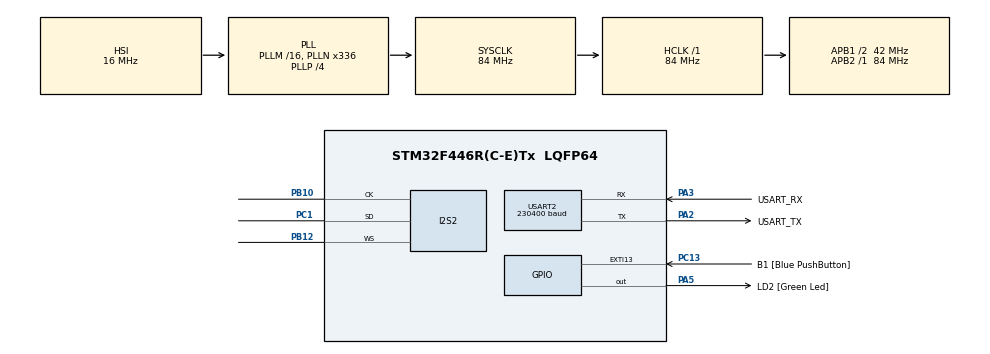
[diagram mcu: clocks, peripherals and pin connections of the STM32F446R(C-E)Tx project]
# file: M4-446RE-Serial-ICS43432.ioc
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Dma.Request0=SPI2_RX
Dma.SPI2_RX.0.Channel=DMA_CHANNEL_0
Dma.SPI2_RX.0.Direction=DMA_PERIPH_TO_MEMORY
Dma.SPI2_RX.0.FIFOMode=DMA_FIFOMODE_DISABLE
Dma.SPI2_RX.0.Instance=DMA1_Stream3
Dma.SPI2_RX.0.MemDataAlignment=DMA_MDATAALIGN_HALFWORD
Dma.SPI2_RX.0.MemInc=DMA_MINC_ENABLE
Dma.SPI2_RX.0.Mode=DMA_NORMAL
Dma.SPI2_RX.0.PeriphDataAlignment=DMA_PDATAALIGN_HALFWORD
Dma.SPI2_RX.0.PeriphInc=DMA_PINC_DISABLE
Dma.SPI2_RX.0.Priority=DMA_PRIORITY_LOW
I2S2.AudioFreq=I2S_AUDIOFREQ_32K
I2S2.DataFormat=I2S_DATAFORMAT_24B
I2S2.ErrorAudioFreq=-2.34 %
I2S2.Mode=I2S_MODE_MASTER_RX
I2S2.RealAudioFreq=31.25 KHz
I2S2.Standard=I2S_STANDARD_MSB
Mcu.Family=STM32F4
Mcu.Name=STM32F446R(C-E)Tx
Mcu.Package=LQFP64
NVIC.DMA1_Stream3_IRQn=true\:0\:0\:false
NVIC.PriorityGroup=NVIC_PRIORITYGROUP_0
PA13.GPIO_Label=TMS
PA13.Signal=SYS_JTMS-SWDIO
PA14.GPIO_Label=TCK
PA14.Signal=SYS_JTCK-SWCLK
PA2.GPIO_Label=USART_TX
PA2.Mode=Asynchronous
PA2.Signal=USART2_TX
PA3.GPIO_Label=USART_RX
PA3.Mode=Asynchronous
PA3.Signal=USART2_RX
PA5.GPIO_Label=LD2 [Green Led]
PA5.Signal=GPIO_Output
PB10.Mode=Half_Duplex_Master
PB10.Signal=I2S2_CK
PB12.Mode=Half_Duplex_Master
PB12.Signal=I2S2_WS
PB3.GPIO_Label=SWO
PB3.Signal=SYS_JTDO-SWO
PC1.Mode=Half_Duplex_Master
PC1.Signal=I2S2_SD
PC13.GPIO_Label=B1 [Blue PushButton]
PC13.GPIO_ModeDefaultEXTI=GPIO_MODE_EVT_RISING
PC13.Signal=GPXTI13
PC14-OSC32_IN.Signal=RCC_OSC32_IN
PC15-OSC32_OUT.Signal=RCC_OSC32_OUT
PH0-OSC_IN.Signal=RCC_OSC_IN
PH1-OSC_OUT.Signal=RCC_OSC_OUT
ProjectManager.HeapSize=0x400
ProjectManager.StackSize=0x200
ProjectManager.TargetToolchain=SW4STM32
RCC.AHBFreq_Value=84000000
RCC.APB1CLKDivider=RCC_HCLK_DIV2
RCC.APB1Freq_Value=42000000
RCC.APB1TimFreq_Value=84000000
RCC.APB2Freq_Value=84000000
RCC.APB2TimFreq_Value=84000000
RCC.CortexFreq_Value=84000000
RCC.FLatency-AdvancedSettings=FLASH_LATENCY_2
RCC.HCLKFreq_Value=84000000
RCC.HSE_VALUE=8000000
RCC.HSI_VALUE=16000000
RCC.LSE_VALUE=32768
RCC.PLLN=336
RCC.PLLP=RCC_PLLP_DIV4
RCC.SYSCLKFreq_VALUE=84000000
RCC.SYSCLKSource=RCC_SYSCLKSOURCE_PLLCLK
RCC.USBFreq_Value=168000000
RCC.VCOOutputFreq_Value=336000000
USART2.BaudRate=230400
board=NUCLEO-F446RE

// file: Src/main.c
/**
  ******************************************************************************
  * File Name          : main.c
  * Description        : Main program body
  ******************************************************************************
  *
  * COPYRIGHT(c) 2016 STMicroelectronics and Gilbert Brault
  *
  * Redistribution and use in source and binary forms, with or without modification,
  * are permitted provided that the following conditions are met:
  *   1. Redistributions of source code must retain the above copyright notice,
  *      this list of conditions and the following disclaimer.
  *   2. Redistributions in binary form must reproduce the above copyright notice,
  *      this list of conditions and the following disclaimer in the documentation
  *      and/or other materials provided with the distribution.
  *   3. Neither the name of STMicroelectronics nor the names of its contributors
  *      may be used to endorse or promote products derived from this software
  *      without specific prior written permission.
  *
  * THIS SOFTWARE IS PROVIDED BY THE COPYRIGHT HOLDERS AND CONTRIBUTORS "AS IS"
  * AND ANY EXPRESS OR IMPLIED WARRANTIES, INCLUDING, BUT NOT LIMITED TO, THE
  * IMPLIED WARRANTIES OF MERCHANTABILITY AND FITNESS FOR A PARTICULAR PURPOSE ARE
  * DISCLAIMED. IN NO EVENT SHALL THE COPYRIGHT HOLDER OR CONTRIBUTORS BE LIABLE
  * FOR ANY DIRECT, INDIRECT, INCIDENTAL, SPECIAL, EXEMPLARY, OR CONSEQUENTIAL
  * DAMAGES (INCLUDING, BUT NOT LIMITED TO, PROCUREMENT OF SUBSTITUTE GOODS OR
  * SERVICES; LOSS OF USE, DATA, OR PROFITS; OR BUSINESS INTERRUPTION) HOWEVER
  * CAUSED AND ON ANY THEORY OF LIABILITY, WHETHER IN CONTRACT, STRICT LIABILITY,
  * OR TORT (INCLUDING NEGLIGENCE OR OTHERWISE) ARISING IN ANY WAY OUT OF THE USE
  * OF THIS SOFTWARE, EVEN IF ADVISED OF THE POSSIBILITY OF SUCH DAMAGE.
  *
  ******************************************************************************
  */
#include "stm32f4xx_hal.h"

/* USER CODE BEGIN Includes */
#include <string.h>

/* USER CODE END Includes */

I2S_HandleTypeDef hi2s2;
DMA_HandleTypeDef hdma_spi2_rx;

UART_HandleTypeDef huart2;

/* USER CODE BEGIN PV */
/* Private variables ---------------------------------------------------------*/
uint16_t Data1[1000] = { 0 };
uint16_t Data2[1000] = { 0 };
int32_t Audio[250] = { 0 };
uint16_t Size = 1000;
uint8_t Ready = 0;
uint16_t *produce_ptr, *consume_ptr;
uint8_t which;
uint8_t state;

/* USER CODE END PV */

void SystemClock_Config(void);
static void MX_GPIO_Init(void);
static void MX_DMA_Init(void);
static void MX_I2S2_Init(void);
static void MX_USART2_UART_Init(void);

/* USER CODE BEGIN PFP */
/* Private function prototypes -----------------------------------------------*/
void ProcessAudio();

/* USER CODE END PFP */

int main(void)
{

  /* USER CODE BEGIN 1 */
	uint8_t binary = 1;
  /* USER CODE END 1 */

  /* MCU Configuration----------------------------------------------------------*/

  /* Reset of all peripherals, Initializes the Flash interface and the Systick. */
  HAL_Init();

  /* Configure the system clock */
  SystemClock_Config();

  /* Initialize all configured peripherals */
  MX_GPIO_Init();
  MX_DMA_Init();
  MX_I2S2_Init();
  MX_USART2_UART_Init();

  /* Infinite loop */
  /* USER CODE BEGIN WHILE */
	char *msg = "Hello Nucleo I2S Test!\n\r";

	HAL_UART_Transmit(&huart2, (uint8_t*) msg, strlen(msg), 0xFFFF);

	produce_ptr = Data1;
	which = 1;
	state = 0;
	consume_ptr = Data2;
	HAL_I2S_Receive_DMA(&hi2s2, produce_ptr, Size / 2);

	while (1) {
  /* USER CODE END WHILE */

  /* USER CODE BEGIN 3 */
		// check if a command is pending (from USART)
		// command code
		// 0 Stop sending
		// 1 Start sending
		uint8_t command[1];
		HAL_StatusTypeDef res;
		res = HAL_UART_Receive(&huart2, command, 1, 0x0000);
		if(res!= (HAL_StatusTypeDef)HAL_TIMEOUT){
			// decoding command
			state = command[0];
		}

		// toggle LED 2 to show activity
		HAL_GPIO_TogglePin(GPIOA, GPIO_PIN_5);

		// depending on state (from USART) and Ready (from DMA)
		// transmit microphone Data in ASCII or Binary
		if ((state==1) && (Ready == 1)) {
			int i;
			char buf[4];
			ProcessAudio();
			if (binary == 0) {
				for (i = 0; i < ((Size / 4) - 1); i++) {
					sprintf(buf, "$%ld;", Audio[i]);
					HAL_UART_Transmit(&huart2, (uint8_t*) buf, strlen(buf),
							0xFFFF);
				}
			} else {
				HAL_UART_Transmit(&huart2, (uint8_t*) Audio,
						(uint16_t) Size, 0xFFFF);
			}
		}
	}
  /* USER CODE END 3 */

}

/** System Clock Configuration
*/
void SystemClock_Config(void)
{

  RCC_OscInitTypeDef RCC_OscInitStruct;
  RCC_ClkInitTypeDef RCC_ClkInitStruct;
  RCC_PeriphCLKInitTypeDef PeriphClkInitStruct;

  __PWR_CLK_ENABLE();

  __HAL_PWR_VOLTAGESCALING_CONFIG(PWR_REGULATOR_VOLTAGE_SCALE3);

  RCC_OscInitStruct.OscillatorType = RCC_OSCILLATORTYPE_HSI;
  RCC_OscInitStruct.HSIState = RCC_HSI_ON;
  RCC_OscInitStruct.HSICalibrationValue = 16;
  RCC_OscInitStruct.PLL.PLLState = RCC_PLL_ON;
  RCC_OscInitStruct.PLL.PLLSource = RCC_PLLSOURCE_HSI;
  RCC_OscInitStruct.PLL.PLLM = 16;
  RCC_OscInitStruct.PLL.PLLN = 336;
  RCC_OscInitStruct.PLL.PLLP = RCC_PLLP_DIV4;
  RCC_OscInitStruct.PLL.PLLQ = 2;
  RCC_OscInitStruct.PLL.PLLR = 2;
  HAL_RCC_OscConfig(&RCC_OscInitStruct);

  RCC_ClkInitStruct.ClockType = RCC_CLOCKTYPE_HCLK|RCC_CLOCKTYPE_SYSCLK
                              |RCC_CLOCKTYPE_PCLK1|RCC_CLOCKTYPE_PCLK2;
  RCC_ClkInitStruct.SYSCLKSource = RCC_SYSCLKSOURCE_PLLCLK;
  RCC_ClkInitStruct.AHBCLKDivider = RCC_SYSCLK_DIV1;
  RCC_ClkInitStruct.APB1CLKDivider = RCC_HCLK_DIV2;
  RCC_ClkInitStruct.APB2CLKDivider = RCC_HCLK_DIV1;
  HAL_RCC_ClockConfig(&RCC_ClkInitStruct, FLASH_LATENCY_2);

  PeriphClkInitStruct.PeriphClockSelection = RCC_PERIPHCLK_I2S_APB2;
  PeriphClkInitStruct.PLLI2S.PLLI2SN = 192;
  PeriphClkInitStruct.PLLI2S.PLLI2SP = RCC_PLLI2SP_DIV2;
  PeriphClkInitStruct.PLLI2S.PLLI2SM = 16;
  PeriphClkInitStruct.PLLI2S.PLLI2SR = 2;
  PeriphClkInitStruct.PLLI2S.PLLI2SQ = 2;
  PeriphClkInitStruct.PLLI2SDivQ = 1;
  PeriphClkInitStruct.I2sApb2ClockSelection = RCC_I2SAPB2CLKSOURCE_PLLI2S;
  HAL_RCCEx_PeriphCLKConfig(&PeriphClkInitStruct);

  HAL_SYSTICK_Config(HAL_RCC_GetHCLKFreq()/1000);

  HAL_SYSTICK_CLKSourceConfig(SYSTICK_CLKSOURCE_HCLK);

  /* SysTick_IRQn interrupt configuration */
  HAL_NVIC_SetPriority(SysTick_IRQn, 0, 0);
}

/* I2S2 init function */
void MX_I2S2_Init(void)
{

  hi2s2.Instance = SPI2;
  hi2s2.Init.Mode = I2S_MODE_MASTER_RX;
  hi2s2.Init.Standard = I2S_STANDARD_MSB;
  hi2s2.Init.DataFormat = I2S_DATAFORMAT_24B;
  hi2s2.Init.MCLKOutput = I2S_MCLKOUTPUT_DISABLE;
  hi2s2.Init.AudioFreq = I2S_AUDIOFREQ_32K;
  hi2s2.Init.CPOL = I2S_CPOL_LOW;
  hi2s2.Init.ClockSource = I2S_CLOCK_PLL;
  hi2s2.Init.FullDuplexMode = I2S_FULLDUPLEXMODE_DISABLE;
  HAL_I2S_Init(&hi2s2);

}

/* USART2 init function */
void MX_USART2_UART_Init(void)
{

  huart2.Instance = USART2;
  huart2.Init.BaudRate = 230400;
  huart2.Init.WordLength = UART_WORDLENGTH_8B;
  huart2.Init.StopBits = UART_STOPBITS_1;
  huart2.Init.Parity = UART_PARITY_NONE;
  huart2.Init.Mode = UART_MODE_TX_RX;
  huart2.Init.HwFlowCtl = UART_HWCONTROL_NONE;
  huart2.Init.OverSampling = UART_OVERSAMPLING_16;
  HAL_UART_Init(&huart2);

}

void MX_DMA_Init(void)
{
  /* DMA controller clock enable */
  __DMA1_CLK_ENABLE();

  /* DMA interrupt init */
  HAL_NVIC_SetPriority(DMA1_Stream3_IRQn, 0, 0);
  HAL_NVIC_EnableIRQ(DMA1_Stream3_IRQn);

}

/** Configure pins as
        * Analog
        * Input
        * Output
        * EVENT_OUT
        * EXTI
*/
void MX_GPIO_Init(void)
{

  GPIO_InitTypeDef GPIO_InitStruct;

  /* GPIO Ports Clock Enable */
  __GPIOC_CLK_ENABLE();
  __GPIOH_CLK_ENABLE();
  __GPIOA_CLK_ENABLE();
  __GPIOB_CLK_ENABLE();

  /*Configure GPIO pin : B1_Pin */
  GPIO_InitStruct.Pin = B1_Pin;
  GPIO_InitStruct.Mode = GPIO_MODE_EVT_RISING;
  GPIO_InitStruct.Pull = GPIO_NOPULL;
  HAL_GPIO_Init(B1_GPIO_Port, &GPIO_InitStruct);

  /*Configure GPIO pin : LD2_Pin */
  GPIO_InitStruct.Pin = LD2_Pin;
  GPIO_InitStruct.Mode = GPIO_MODE_OUTPUT_PP;
  GPIO_InitStruct.Pull = GPIO_NOPULL;
  GPIO_InitStruct.Speed = GPIO_SPEED_LOW;
  HAL_GPIO_Init(LD2_GPIO_Port, &GPIO_InitStruct);

  /*Configure GPIO pin Output Level */
  HAL_GPIO_WritePin(LD2_GPIO_Port, LD2_Pin, GPIO_PIN_RESET);

}

/* USER CODE BEGIN 4 */

void ProcessAudio() {

	int i;
	for (i = 2; i < (Size - 1); i += 4) {
		if ((i % 4) == 2) {
			uint32_t high = (((uint32_t) (consume_ptr[i] & 0x3fff)) << 9);
			high &= 0x00ffffff;
			uint32_t low = ((consume_ptr[i + 1] & 0xff80) >> 7);
			low &= 0x00ffffff;
			int32_t value = (high + low);
			int sign = consume_ptr[i] & 0x4000;
			if (sign != 0) {
				value = value - (1 << 23);
			}
			Audio[i / 4] = value;
		}
	}
	Ready = 0;
}

void HAL_I2S_RxCpltCallback(I2S_HandleTypeDef *hi2s) {
	//__HAL_I2S_DISABLE(hi2s);
	// HAL_I2S_DMAStop(hi2s);
	if (Ready == 0) {
		if (which == 1) {
			produce_ptr = Data2;
			consume_ptr = Data1;
			which = 2;
		} else {
			produce_ptr = Data1;
			consume_ptr = Data2;
			which = 1;
		}
	}
	HAL_I2S_Receive_DMA(&hi2s2, produce_ptr, Size / 2);
	Ready = 1;
}

void HAL_I2S_ErrorCallback(I2S_HandleTypeDef *hi2s) {
	MX_I2S2_Init();
	HAL_I2S_RxCpltCallback(hi2s);
}

/* USER CODE END 4 */

/************************ (C) COPYRIGHT STMicroelectronics *****END OF FILE****/
